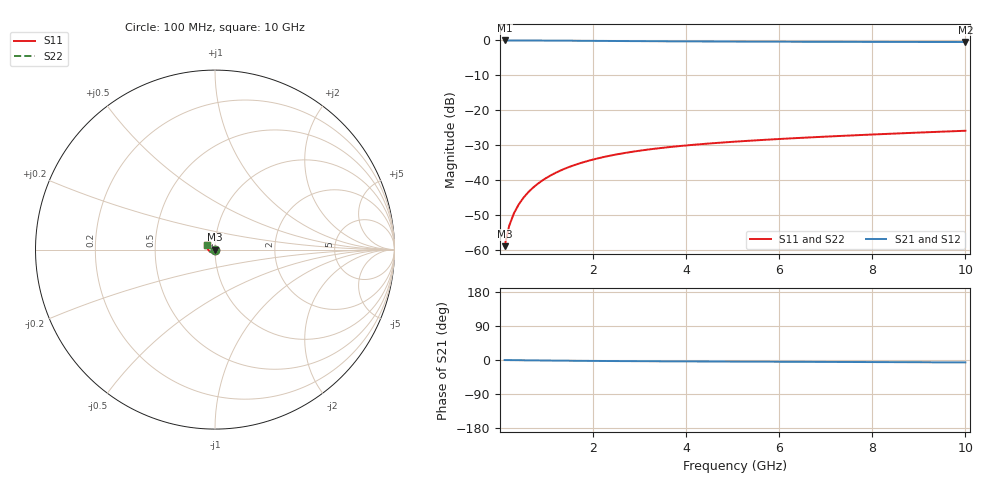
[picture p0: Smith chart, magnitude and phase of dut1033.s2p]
! Touchstone file exported from HFSS 2024.1.0
!  File:  C:/UserFiles/LocalFiles/RDL_TSV_Batchsim/temp_TSV1_1033_1780060898.aedt
!  Generated:  09:27:46 PM May 29, 2026
!  Design:  TSV1
!  Project:  temp_TSV1_1033_1780060898
!  Setup:  Setup1
!  Solution:  Sweep
! Variables:
!  dtsv = 8.5um
!  hbump = 3um
!  htsv = 96.64um
!  lrdl = 252.1521522um
!  p = 40
!  p1 = 59.9um
!  t = 500um
!  trdl = 3um
!  wrdl = 24.89489489um
# GHz S MA R 50.000000
! Terminal data exported
! Port[1] = TSV22_T1
! Port[2] = TSV22_T2
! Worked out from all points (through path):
!   100 points, 100 MHz to 10 GHz, reference 50 ohm
!   highest |S21| = 0.00 dB at 100 MHz (marker M1); lowest = -0.4 dB at 10 GHz (marker M2)
!   lowest |S11| = -59.0 dB at 100 MHz (marker M3), VSWR 1.00, Z = 50 - j0.111 ohm
!   |S11| at or under -10 dB: start of sweep to end of sweep
!   |S22| runs from -59.0 to -25.9 dB; largest |S21 - S12| = 7.2e-15
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0.1  0.001125 -80.7  0.9997 -0.1  0.9997 -0.1  0.001125 -80.7
! Gamma 0 0 0 0
! Port Impedance 50 0 50 0
0.2  0.002222 -88.4  0.9996 -0.3  0.9996 -0.3  0.002222 -88.4
0.3  0.003324 -92.6  0.9994 -0.4  0.9994 -0.4  0.003324 -92.6
0.4  0.004422 -95.7  0.999 -0.6  0.999 -0.6  0.004422 -95.7
0.5  0.005511 -98.5  0.9987 -0.7  0.9987 -0.7  0.005511 -98.5
0.6  0.006588 -101.1  0.9982 -0.8  0.9982 -0.8  0.006588 -101.1
0.7  0.007652 -103.6  0.9977 -1.0  0.9977 -1.0  0.007652 -103.6
0.8  0.0087 -105.9  0.9971 -1.1  0.9971 -1.1  0.0087 -105.9
0.9  0.00973 -108.2  0.9964 -1.2  0.9964 -1.2  0.00973 -108.2
1.1  0.01173 -112.6  0.9949 -1.5  0.9949 -1.5  0.01173 -112.6
1.4  0.01458 -118.9  0.9924 -1.8  0.9924 -1.8  0.01458 -118.9
1.6  0.01636 -122.9  0.9905 -2.0  0.9905 -2.0  0.01636 -122.9
1.8  0.01804 -126.8  0.9886 -2.2  0.9886 -2.2  0.01804 -126.8
2.1  0.02039 -132.3  0.9857 -2.5  0.9857 -2.5  0.02039 -132.3
2.5  0.02321 -139.1  0.9818 -2.8  0.9818 -2.8  0.02321 -139.1
2.9  0.0257 -145.5  0.9782 -3.1  0.9782 -3.1  0.0257 -145.5
3.4  0.02843 -152.7  0.974 -3.4  0.974 -3.4  0.02843 -152.7
4.2  0.03212 -162.8  0.9683 -3.8  0.9683 -3.8  0.03212 -162.8
5.1  0.0356 -172.6  0.9633 -4.2  0.9633 -4.2  0.0356 -172.6
6.7  0.04089 173.3  0.957 -4.9  0.957 -4.9  0.04089 173.3
8.4  0.04602 161.4  0.9527 -5.6  0.9527 -5.6  0.04602 161.4
10  0.05077 152.3  0.9499 -6.4  0.9499 -6.4  0.05077 152.3
